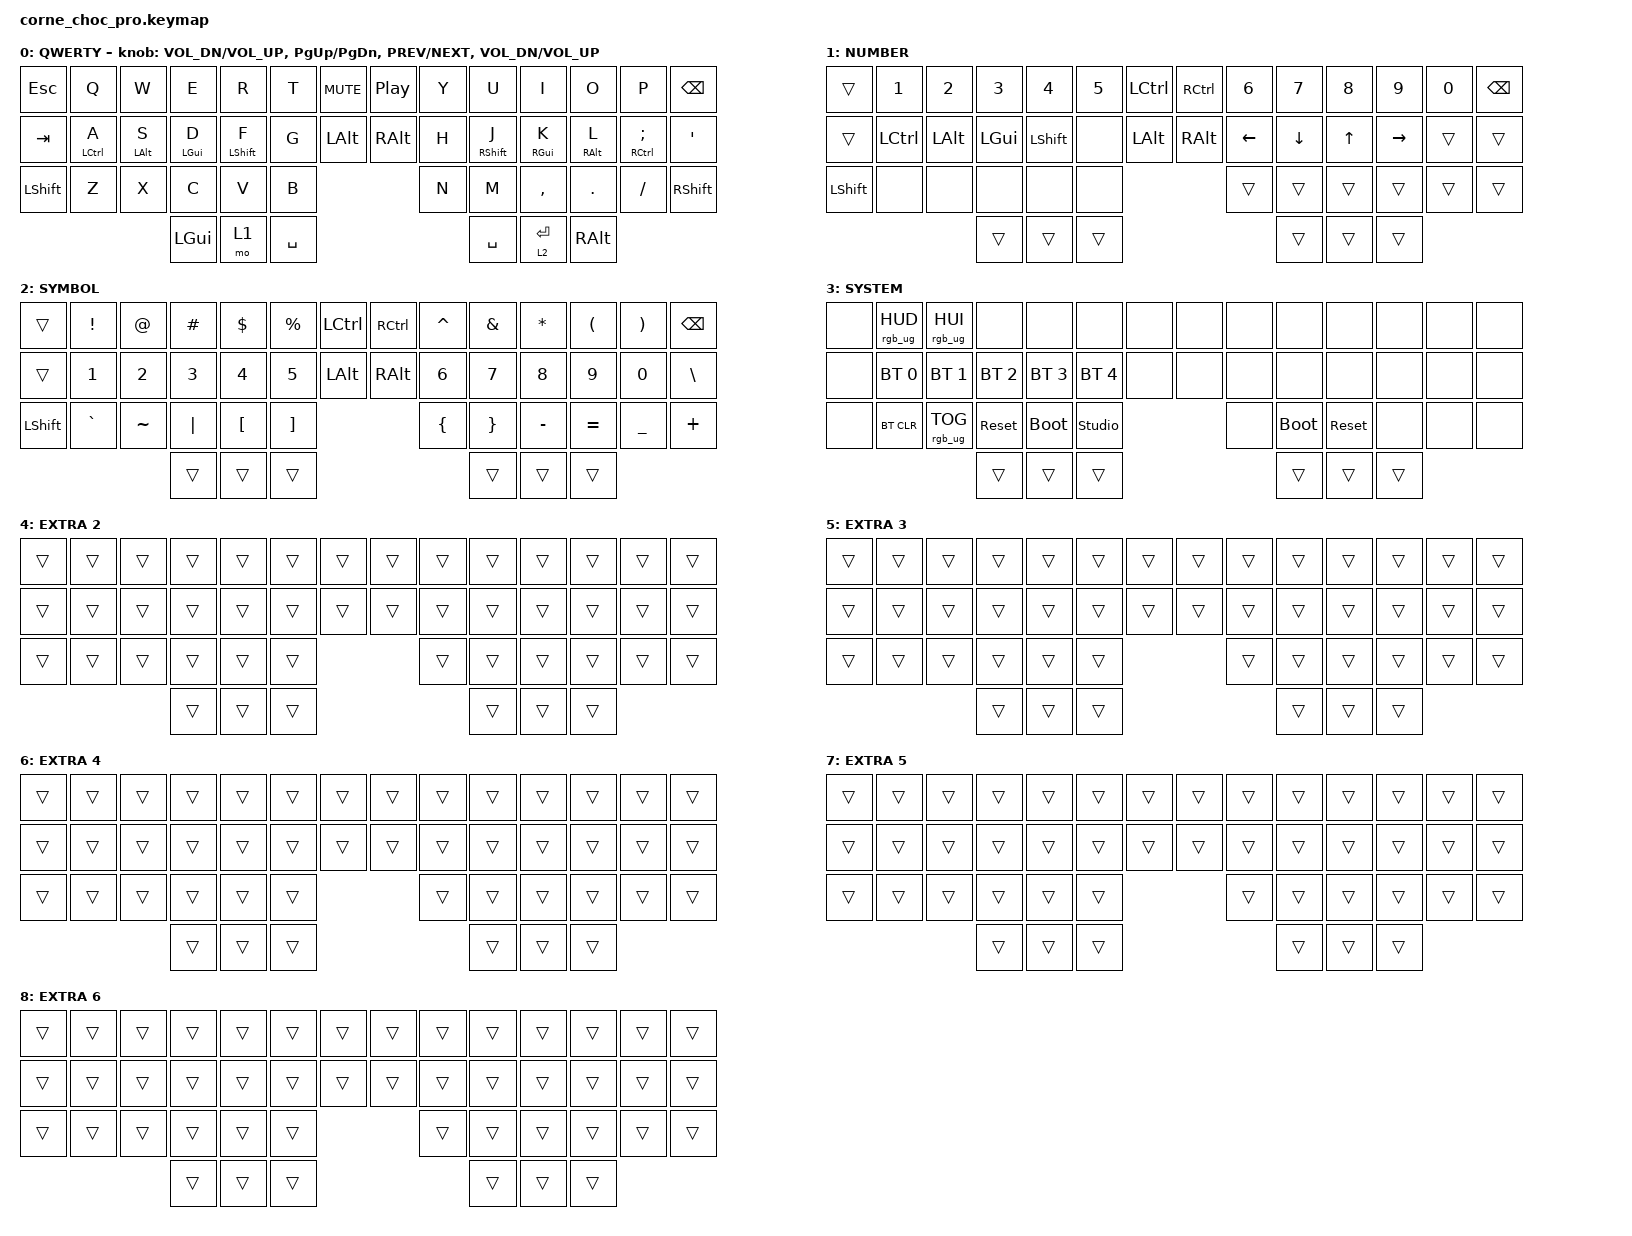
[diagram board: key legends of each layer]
/*
 * Copyright (c) 2020 The ZMK Contributors
 *
 * SPDX-License-Identifier: MIT
 */

#include <behaviors.dtsi>
#include <dt-bindings/zmk/keys.h>
#include <dt-bindings/zmk/bt.h>
#include <dt-bindings/zmk/rgb.h>

/ {
    chosen {
        zmk,physical-layout = &default_layout;
    };
};

// RSE thumb: tap = Enter, hold = SYMBOL. Pressing and releasing another key while held picks the layer right away.
&lt {
    flavor = "balanced";
};

// Home-row mods (CAGS): tap = letter, hold = modifier.
// The modifier only kicks in after the key has been held for tapping-term (280 ms), whatever key comes next.
/ {
    behaviors {
        hm: home_row_mod {
            compatible = "zmk,behavior-hold-tap";
            #binding-cells = <2>;
            flavor = "tap-preferred";
            tapping-term-ms = <280>;
            quick-tap-ms = <175>;
            require-prior-idle-ms = <150>;
            bindings = <&kp>, <&kp>;
        };
    };
};

// SYSTEM layer: hold LWR and RSE together.
/ {
    conditional_layers {
        compatible = "zmk,conditional-layers";
        tri_layer {
            if-layers = <1 2>;
            then-layer = <3>;
        };
    };
};

/ {
    keymap {
        compatible = "zmk,keymap";

        default_layer {
            display-name = "QWERTY";
            // --------------------------------------------------------------------------------
            // |  ESC |  Q  |  W  |  E  |  R  |  T  |  MUTE |  PP   |  Y  |  U   |  I  |  O  |  P  | BSPC |
            // |  TAB |  A  |  S  |  D  |  F  |  G  |  LALT |  RALT |  H  |  J   |  K  |  L  |  ;  |  '   |
            // | SHFT |  Z  |  X  |  C  |  V  |  B  |               |  N  |  M   |  ,  |  .  |  /  | SHFT |
            //                    | GUI | LWR | SPC |               | SPC |RSE/ENT| ALT |
            bindings = <
                &kp ESC   &kp Q &kp W &kp E &kp R &kp T &kp C_MUTE &kp C_PP &kp Y &kp U  &kp I     &kp O   &kp P    &kp BSPC
                &kp TAB   &hm LCTRL A &hm LALT S &hm LGUI D &hm LSHFT F &kp G &kp LALT   &kp RALT &kp H &hm RSHFT J &hm RGUI K &hm RALT L &hm RCTRL SEMI &kp SQT
                &kp LSHFT &kp Z &kp X &kp C &kp V &kp B                     &kp N &kp M  &kp COMMA &kp DOT &kp FSLH &kp RSHFT
                                      &kp LGUI &mo 1 &kp SPACE              &kp SPACE &lt 2 RET &kp RALT
            >;
            sensor-bindings = <&inc_dec_kp C_VOL_DN C_VOL_UP &inc_dec_kp PG_UP PG_DN &inc_dec_kp C_PREV C_NEXT &inc_dec_kp C_VOL_DN C_VOL_UP>;
        };

        lower_layer {
            display-name = "NUMBER";
            // -----------------------------------------------------------------------------------------
            // |  ESC |  1  |  2  |  3  |  4  |  5    |  LCTRL | RCTRL |  6  |  7  |  8  |  9  |  0  | BSPC |
            // |  TAB | CTL | ALT | GUI | SFT |       |  LALT  | RALT  | LFT | DWN |  UP | RGT |     |      |
            // | SHFT |     |     |     |     |       |        |       |     |     |     |     |     | SHFT |
            //                    | GUI |     | SPC   |        | SPC   |     | ALT |
            bindings = <
                &trans    &kp N1       &kp N2          &kp N3       &kp N4       &kp N5       &kp LCTRL &kp RCTRL &kp N6   &kp N7   &kp N8 &kp N9    &kp N0 &kp BSPC
                &trans    &kp LCTRL    &kp LALT        &kp LGUI     &kp LSHFT    &none        &kp LALT  &kp RALT  &kp LEFT &kp DOWN &kp UP &kp RIGHT &trans &trans
                &kp LSHFT &none        &none           &none        &none        &none                            &trans   &trans   &trans &trans    &trans &trans
                                                       &trans       &trans       &trans                           &trans   &trans   &trans
            >;
        };

        raise_layer {
            display-name = "SYMBOL";
            // -----------------------------------------------------------------------------------------
            // |  ESC |  !  |  @  |  #  |  $  |  %  | LCTRL | RCTRL |  ^  |  &  |  *  |  (  |  )  | BSPC |
            // |  TAB |  1  |  2  |  3  |  4  |  5  |  LALT | RALT  |  6  |  7  |  8  |  9  |  0  |  \   |
            // | SHFT |  `  |  ~  | "|" |  [  |  ]  |               |  {  |  }  |  -  |  =  |  _  |  +   |
            //                    | GUI |     | SPC |               | SPC |     | ALT |
            bindings = <
                &trans    &kp EXCL        &kp AT          &kp HASH &kp DLLR &kp PRCNT &kp LCTRL &kp RCTRL &kp CARET &kp AMPS  &kp ASTRK &kp LPAR &kp RPAR &kp BSPC
                &trans    &kp N1          &kp N2          &kp N3   &kp N4   &kp N5    &kp LALT  &kp RALT  &kp N6    &kp N7    &kp N8    &kp N9   &kp N0   &kp BSLH
                &kp LSHFT &kp GRAVE       &kp TILDE       &kp PIPE &kp LBKT &kp RBKT                      &kp LBRC  &kp RBRC  &kp MINUS &kp EQUAL &kp UNDER &kp PLUS
                                                          &trans   &trans   &trans                        &trans    &trans    &trans
            >;
        };

        system_layer {
            display-name = "SYSTEM";
            // Hold LWR and RSE together to get here (see conditional_layers above).
            // -----------------------------------------------------------------------------------------
            // |      | HUD | HUI |     |     |       |       |       |     |     |     |     |     |      |
            // |      | BT1 | BT2 | BT3 | BT4 | BT5   |       |       |     |     |     |     |     |      |
            // |      | BTCR| RGB | RST | BOOT| Unlock|               |     | BOOT| RST |     |     |      |
            //                    | GUI |     | SPC   |               | SPC |     | ALT |
            bindings = <
                &none &rgb_ug RGB_HUD &rgb_ug RGB_HUI &none        &none        &none          &none &none &none &none       &none      &none &none &none
                &none &bt BT_SEL 0    &bt BT_SEL 1    &bt BT_SEL 2 &bt BT_SEL 3 &bt BT_SEL 4   &none &none &none &none       &none      &none &none &none
                &none &bt BT_CLR      &rgb_ug RGB_TOG &sys_reset   &bootloader  &studio_unlock             &none &bootloader &sys_reset &none &none &none
                                                      &trans       &trans       &trans                     &trans &trans      &trans
            >;
        };

        extra_layer_2 {
            display-name = "EXTRA 2";
            bindings = <
                &trans &trans &trans &trans &trans &trans &trans &trans &trans &trans &trans &trans &trans &trans
                &trans &trans &trans &trans &trans &trans &trans &trans &trans &trans &trans &trans &trans &trans
                &trans &trans &trans &trans &trans &trans               &trans &trans &trans &trans &trans &trans
                                     &trans &trans &trans               &trans &trans &trans       
            >;
        };

        extra_layer_3 {
            display-name = "EXTRA 3";
            bindings = <
                &trans &trans &trans &trans &trans &trans &trans &trans &trans &trans &trans &trans &trans &trans
                &trans &trans &trans &trans &trans &trans &trans &trans &trans &trans &trans &trans &trans &trans
                &trans &trans &trans &trans &trans &trans               &trans &trans &trans &trans &trans &trans
                                     &trans &trans &trans               &trans &trans &trans       
            >;
        };

        extra_layer_4 {
            display-name = "EXTRA 4";
            bindings = <
                &trans &trans &trans &trans &trans &trans &trans &trans &trans &trans &trans &trans &trans &trans
                &trans &trans &trans &trans &trans &trans &trans &trans &trans &trans &trans &trans &trans &trans
                &trans &trans &trans &trans &trans &trans               &trans &trans &trans &trans &trans &trans
                                     &trans &trans &trans               &trans &trans &trans       
            >;
        };

        extra_layer_5 {
            display-name = "EXTRA 5";
            bindings = <
                &trans &trans &trans &trans &trans &trans &trans &trans &trans &trans &trans &trans &trans &trans
                &trans &trans &trans &trans &trans &trans &trans &trans &trans &trans &trans &trans &trans &trans
                &trans &trans &trans &trans &trans &trans               &trans &trans &trans &trans &trans &trans
                                     &trans &trans &trans               &trans &trans &trans       
            >;
        };

        extra_layer_6 {
            display-name = "EXTRA 6";
            bindings = <
                &trans &trans &trans &trans &trans &trans &trans &trans &trans &trans &trans &trans &trans &trans
                &trans &trans &trans &trans &trans &trans &trans &trans &trans &trans &trans &trans &trans &trans
                &trans &trans &trans &trans &trans &trans               &trans &trans &trans &trans &trans &trans
                                     &trans &trans &trans               &trans &trans &trans       
            >;
        };
    };
};
